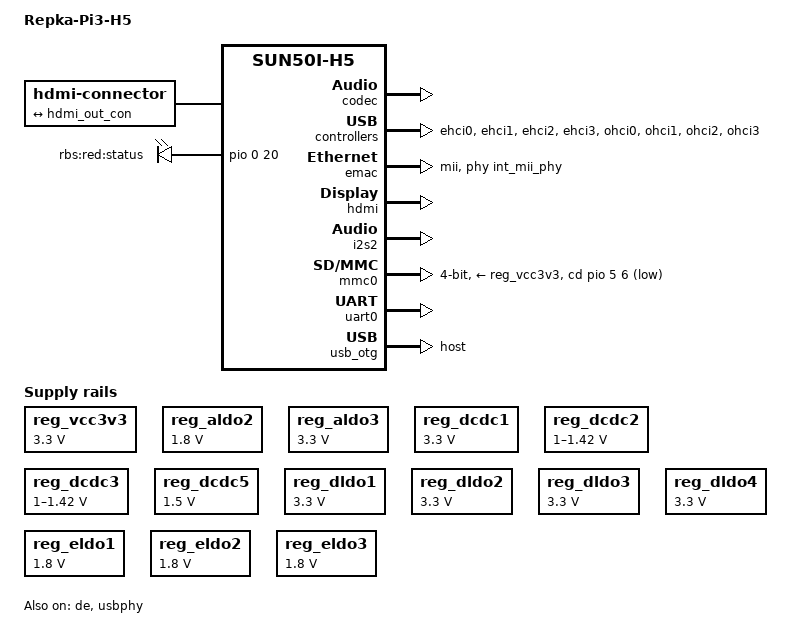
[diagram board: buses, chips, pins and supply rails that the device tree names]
// SPDX-License-Identifier: (GPL-2.0+ OR MIT)
// Copyright (C) 2016 ARM Ltd.

/dts-v1/;
#include "sun50i-h5-repka.dtsi"

#include <dt-bindings/gpio/gpio.h>
#include <dt-bindings/input/input.h>
#include <dt-bindings/pinctrl/sun4i-a10.h>

/ {
	model = "Repka-Pi3-H5";
	option = "uboot";
	compatible = "rbs,repka-pi3", "allwinner,sun50i-h5";

	reg_vcc3v3: vcc3v3 {
		compatible = "regulator-fixed";
		regulator-name = "vcc3v3";
		regulator-min-microvolt = <3300000>;
		regulator-max-microvolt = <3300000>;
	};

	aliases {
		ethernet0 = &emac;
		serial0 = &uart0;
		serial1 = &uart1;
		spi0 = &spi0;
		spi1 = &spi1;
	};

	chosen {
		stdout-path = "serial0:115200n8";
	};

	connector {
		compatible = "hdmi-connector";
		type = "a";

		port {
			hdmi_con_in: endpoint {
				remote-endpoint = <&hdmi_out_con>;
			};
		};
	};

	leds {
		pinctrl-names = "default";
				
		status {
			label = "rbs:red:status";
			gpios = <&pio 0 20 GPIO_ACTIVE_HIGH>;
			linux,default-trigger = "heartbeat";
		};
	};

};

&codec {
	allwinner,audio-routing =
		"Line Out", "LINEOUT",
		"MIC1", "Mic",
		"Mic",  "MBIAS";
	status = "okay";
};

&cpu0 {
	cpu-supply = <&reg_dcdc2>;
};

&cpu1 {
	cpu-supply = <&reg_dcdc2>;
};

&cpu2 {
	cpu-supply = <&reg_dcdc2>;
};

&cpu3 {
	cpu-supply = <&reg_dcdc2>;
};

&de {
	status = "okay";
};

&ehci0 {
	status = "okay";
};

&ehci1 {
	status = "okay";
};

&ehci2 {
	status = "okay";
};

&ehci3 {
	status = "okay";
};

&emac {
	phy-handle = <&int_mii_phy>;
	phy-mode = "mii";
	allwinner,leds-active-low;
	status = "okay";
};

&hdmi {
	status = "okay";
};

&hdmi_out {
	hdmi_out_con: endpoint {
		remote-endpoint = <&hdmi_con_in>;
	};
};

&i2s2 {
	status = "okay";
};

&sound_hdmi {
	status = "okay";
};

&ir {
	pinctrl-names = "default";
	pinctrl-0 = <&r_ir_rx_pin>;
	status = "disabled";
};

&mmc0 {
	vmmc-supply = <&reg_vcc3v3>;
	bus-width = <4>;
	cd-gpios = <&pio 5 6 GPIO_ACTIVE_LOW>; /* PF6 */
	status = "okay";
};

&ohci0 {
	status = "okay";
};

&ohci1 {
	status = "okay";
};

&ohci2 {
	status = "okay";
};

&ohci3 {
	status = "okay";
};

&r_i2c {
	status = "disabled";

	axp22x: pmic@34 {
		compatible = "x-powers,axp221";
		reg = <0x34>;
		interrupt-parent = <&r_intc>;
		interrupts = <0 IRQ_TYPE_LEVEL_LOW>;
	};
};

#include "axp22x.dtsi"


&reg_aldo2 {			/* VCC-PG 1.8 */
	regulator-always-on;
	regulator-min-microvolt = <1800000>;
	regulator-max-microvolt = <1800000>;
	regulator-name = "vcc-pg";
};

&reg_aldo3 {
	regulator-always-on;
	regulator-min-microvolt = <3300000>;
	regulator-max-microvolt = <3300000>;
	regulator-name = "vcc-pll-avcc";
};

&reg_dc1sw {
	regulator-name = "vcc-phy";
};

&reg_dcdc1 {
	regulator-always-on;
	regulator-min-microvolt = <3300000>;
	regulator-max-microvolt = <3300000>;
	regulator-name = "vcc-3v3";
};

&reg_dcdc2 {
	regulator-always-on;
	regulator-min-microvolt = <1000000>;
	regulator-max-microvolt = <1420000>; 
	regulator-name = "vdd-cpux-a";
};

&reg_dcdc3 {
	regulator-always-on;
	regulator-min-microvolt = <1000000>;
	regulator-max-microvolt = <1420000>;
	regulator-name = "vdd-cpux-b";
};

/* DCDC3 is polyphased with DCDC2 */

/*
 * The DRAM chips used by rbs-h5 boards are DDR3 -compatibl
 * 
 */
&reg_dcdc5 {
	regulator-always-on;
	regulator-min-microvolt = <1500000>;
	regulator-max-microvolt = <1500000>;
	regulator-name = "vcc-dram";
};

&reg_dldo1 {
	regulator-always-on;
	regulator-min-microvolt = <3300000>;
	regulator-max-microvolt = <3300000>;
	regulator-name = "vcc-wifi-1";
};

&reg_dldo2 {
	regulator-always-on;
	regulator-min-microvolt = <3300000>;
	regulator-max-microvolt = <3300000>;
	regulator-name = "vcc-wifi-2";
};

&reg_dldo3 {
	regulator-always-on;
	regulator-min-microvolt = <3300000>;
	regulator-max-microvolt = <3300000>;
	regulator-name = "vcc-wifi-3";
};

&reg_dldo4 {
	regulator-always-on;
	regulator-min-microvolt = <3300000>;
	regulator-max-microvolt = <3300000>;
	regulator-name = "vcc-wifi-4";
};
			/* VCC-wifi-IO 1.8 */
&reg_eldo1 {
	regulator-always-on;
	regulator-min-microvolt = <1800000>;
	regulator-max-microvolt = <1800000>;
	regulator-name = "vcc-wifi-io-1";
};

&reg_eldo2 {
	regulator-always-on;
	regulator-min-microvolt = <1800000>;
	regulator-max-microvolt = <1800000>;
	regulator-name = "vcc-wifi-io-2";
};

&reg_eldo3 {
	regulator-always-on;
	regulator-min-microvolt = <1800000>;
	regulator-max-microvolt = <1800000>;
	regulator-name = "vcc-wifi-io-3";
};

/*
 * 
 * 
 *     ^__________^
* 
*
*/

&reg_rtc_ldo {
	regulator-name = "vcc-rtc";
};

&spi0 {
	pinctrl-names = "default", "default";


	status = "disabled";
	spidev@0 {
		compatible = "rohm,dh2228fv";  /* костыль, так как теперь"spidev" нет в драйвере ядра (spidev.c) */
		status = "okay";
		reg = <0>;
		spi-max-frequency = <1000000>;
		bias-disable;	
	};
	spidev@1 {
		compatible = "rohm,dh2228fv";  /* костыль, так как теперь"spidev" нет в драйвере ядра (spidev.c) */
		status = "okay";
		reg = <1>;
		spi-max-frequency = <1000000>;
		bias-disable;	
	};
	
};

&spi1 {
	pinctrl-names = "default", "default";
        
        status = "disabled";
	spidev@0 {
		compatible = "rohm,dh2228fv";
		status = "okay";
		reg = <0>;
		spi-max-frequency = <1000000>;
       };
};

&pio {
		spi0_cs1: spi0_cs1 {		/* для совместимости с распбери создаем cs1 */
			pins = "PA3";
			function = "gpio_out";
			output-high;
		};

};


&r_pwm {
	status = "disabled";
};

/* to debag serial */
&uart0 {
	pinctrl-names = "default";
	pinctrl-0 = <&uart0_pa_pins>;
	status = "okay";
};

/* to bt-wifi module */
&uart1 {
	pinctrl-names = "default";
	pinctrl-0 = <&uart1_pins>;
	status = "disabled";
};

&uart2 {
	pinctrl-names = "default";
	pinctrl-0 = <&uart2_pins>, <&uart2_rts_cts_pins>;   /* , <&uart2_rts_cts_pins> пересекается с spi cs1 */
	status = "disabled";
};

&r_uart {
	pinctrl-names = "default";
	pinctrl-0 = <&r_uart_pins>;
	status = "disabled";
};

&usb_otg {
	dr_mode = "host";
	status = "okay";
};

&usbphy {
	status = "okay";
};


